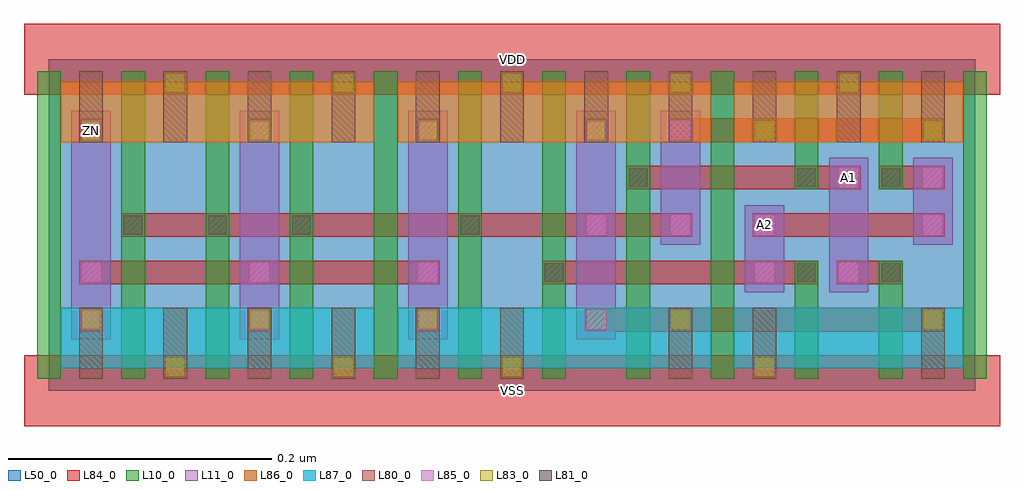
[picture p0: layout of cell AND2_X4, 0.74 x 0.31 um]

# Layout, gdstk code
import gdstk
lib = gdstk.Library(unit=1e-6, precision=1e-09)
def R(c, l, rs):  # rectangles x0, y0, x1, y1
    for r in rs: c.add(gdstk.rectangle(r[:2], r[2:], *l))
def A(c, l, x, y, w, h, nx, ny, dx, dy):  # array of equal rectangles
    R(c, l, [(x+i*dx, y+j*dy, x+i*dx+w, y+j*dy+h) for i in range(nx) for j in range(ny)])
L10_0 = (10, 0)
L11_0 = (11, 0)
L50_0 = (50, 0)
L80_0 = (80, 0)
L81_0 = (81, 0)
L83_0 = (83, 0)
L84_0 = (84, 0)
L85_0 = (85, 0)
L86_0 = (86, 0)
L87_0 = (87, 0)

and2_x4 = lib.new_cell('AND2_X4')
A(and2_x4, L10_0, -0.009, 0.009, 0.018, 0.234, 9, 1, 0.064, 0)
R(and2_x4, L10_0, [(0.567,0.009,0.585,0.099), (0.631,0.009,0.649,0.099), (0.695,0.009,0.713,0.243), (0.567,0.153,0.585,0.243), (0.631,0.153,0.649,0.243)])
A(and2_x4, L11_0, 0.017, 0.039, 0.03, 0.174, 4, 1, 0.128, 0)
R(and2_x4, L11_0, [(0.529,0.075,0.559,0.141), (0.593,0.075,0.623,0.177), (0.465,0.111,0.495,0.213), (0.657,0.111,0.687,0.177)])
R(and2_x4, L50_0, [(0,0,0.704,0.252)])
A(and2_x4, L80_0, 0.023, 0.009, 0.018, 0.054, 6, 1, 0.064, 0)
A(and2_x4, L80_0, 0.023, 0.189, 0.018, 0.054, 11, 1, 0.064, 0)
R(and2_x4, L80_0, [(0.471,0.009,0.489,0.063), (0.535,0.009,0.553,0.063), (0.663,0.009,0.681,0.063)])
A(and2_x4, L81_0, 0.057, 0.119, 0.014, 0.014, 3, 1, 0.064, 0)
R(and2_x4, L81_0, [(0.377,0.083,0.391,0.097), (0.569,0.083,0.583,0.097), (0.633,0.083,0.647,0.097), (0.313,0.119,0.327,0.133), (0.441,0.155,0.455,0.169), (0.569,0.155,0.583,0.169), (0.633,0.155,0.647,0.169)])
A(and2_x4, L83_0, 0.089, 0.011, 0.014, 0.014, 3, 1, 0.128, 0)
A(and2_x4, L83_0, 0.025, 0.047, 0.014, 0.014, 3, 1, 0.128, 0)
A(and2_x4, L83_0, 0.025, 0.191, 0.014, 0.014, 6, 1, 0.128, 0)
A(and2_x4, L83_0, 0.089, 0.227, 0.014, 0.014, 5, 1, 0.128, 0)
R(and2_x4, L83_0, [(0.537,0.011,0.551,0.025), (0.473,0.047,0.487,0.061), (0.665,0.047,0.679,0.061)])
A(and2_x4, L84_0, 0.023, 0.045, 0.018, 0.018, 3, 1, 0.128, 0)
A(and2_x4, L84_0, 0.023, 0.189, 0.018, 0.018, 4, 1, 0.128, 0)
R(and2_x4, L84_0, [(-0.019,-0.027,0.723,0.027), (0.407,0.045,0.681,0.063), (0.023,0.081,0.297,0.099), (0.375,0.081,0.585,0.099), (0.599,0.081,0.649,0.099), (0.055,0.117,0.489,0.135), (0.535,0.117,0.681,0.135), (0.439,0.153,0.617,0.171), (0.631,0.153,0.681,0.171), (0.471,0.189,0.681,0.207), (-0.019,0.225,0.723,0.279)])
A(and2_x4, L85_0, 0.024, 0.046, 0.016, 0.016, 4, 2, 0.128, 0.144)
A(and2_x4, L85_0, 0.024, 0.082, 0.016, 0.016, 3, 1, 0.128, 0)
A(and2_x4, L85_0, 0.408, 0.118, 0.016, 0.016, 3, 1, 0.064, 0)
R(and2_x4, L85_0, [(0.536,0.082,0.552,0.098), (0.6,0.082,0.616,0.098), (0.664,0.118,0.68,0.134), (0.6,0.154,0.616,0.17), (0.664,0.154,0.68,0.17), (0.472,0.19,0.488,0.206)])
R(and2_x4, L86_0, [(0.009,0.189,0.247,0.235), (0.265,0.189,0.503,0.235), (0.521,0.189,0.695,0.235)])
R(and2_x4, L87_0, [(0.009,0.017,0.247,0.063), (0.265,0.017,0.503,0.063), (0.521,0.017,0.695,0.063)])
and2_x4.add(gdstk.Label('VDD', (0.352,0.252), layer=88, texttype=0))
and2_x4.add(gdstk.Label('VSS', (0.352,0), layer=88, texttype=0))
and2_x4.add(gdstk.Label('ZN', (0.032,0.198), layer=31, texttype=0))
and2_x4.add(gdstk.Label('A1', (0.608,0.162), layer=31, texttype=0))
and2_x4.add(gdstk.Label('A2', (0.544,0.126), layer=31, texttype=0))

lib.write_gds('AND2_X4.gds')
